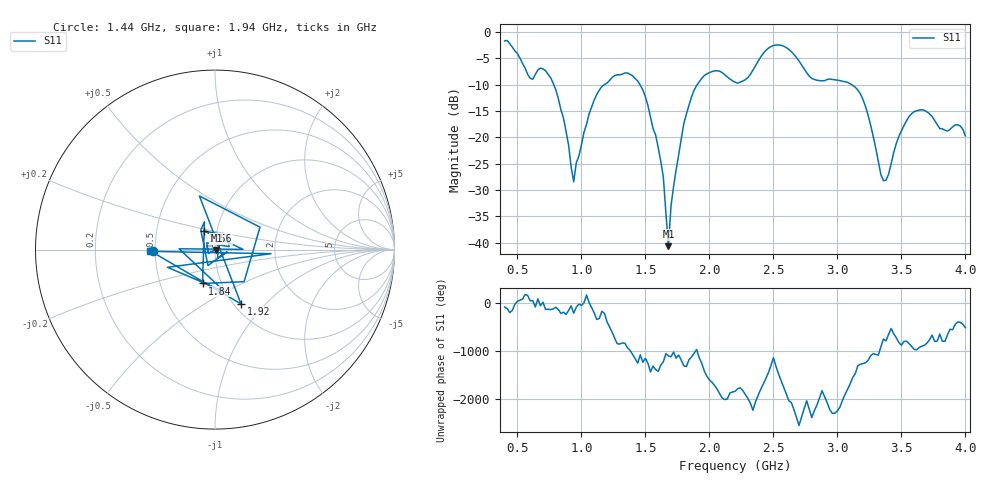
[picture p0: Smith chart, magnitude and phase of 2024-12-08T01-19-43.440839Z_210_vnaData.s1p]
!Created with skrf (http://scikit-rf.org).
# Hz S RI R 50.0
!freq ReS11 ImS11
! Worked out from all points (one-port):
!   181 points, 400 MHz to 4 GHz, reference 50 ohm
!   lowest |S11| = -40.6 dB at 1.68 GHz (marker M1), VSWR 1.02, Z = 50.8 - j0.46 ohm
!   |S11| at or under -10 dB: 784.2 MHz to 1.179 GHz (394.8 MHz wide, 40.2 % of centre); 1.458 GHz to 1.904 GHz (446.6 MHz wide, 26.6 % of centre); 3.112 GHz to end of sweep
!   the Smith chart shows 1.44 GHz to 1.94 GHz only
!   S11 on the Smith chart (normalised r, x): 1.44 GHz: 0.49, -0.01; 1.56 GHz: 0.86, +0.18; 1.84 GHz: 0.81, -0.32; 1.92 GHz: 1.08, -0.74; 1.94 GHz: 0.47, -0.01
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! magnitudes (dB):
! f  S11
! 400 MHz  -1.7
! 600 MHz  -8.8
! 720 MHz  -7.3
! 860 MHz  -16.3
! 940 MHz  -28.4
! 960 MHz  -24.8
! 1.1 GHz  -12.9
! 1.3 GHz  -8.1
! 1.44 GHz  -9.3
! 1.56 GHz  -18.3
! 1.64 GHz  -27.5
! 1.68 GHz  -40.6
! 1.7 GHz  -33.0
! 1.76 GHz  -23.3
! 1.84 GHz  -13.9
! 1.92 GHz  -9.5
! 1.94 GHz  -8.8
! 2.06 GHz  -7.3
! 2.2 GHz  -9.5
! 2.48 GHz  -2.8
! 2.66 GHz  -4.2
! 2.8 GHz  -8.8
! 3.1 GHz  -9.8
! 3.22 GHz  -14.1
! 3.36 GHz  -28.2
! 3.56 GHz  -16.0
! 3.68 GHz  -14.9
! 4 GHz  -19.7
